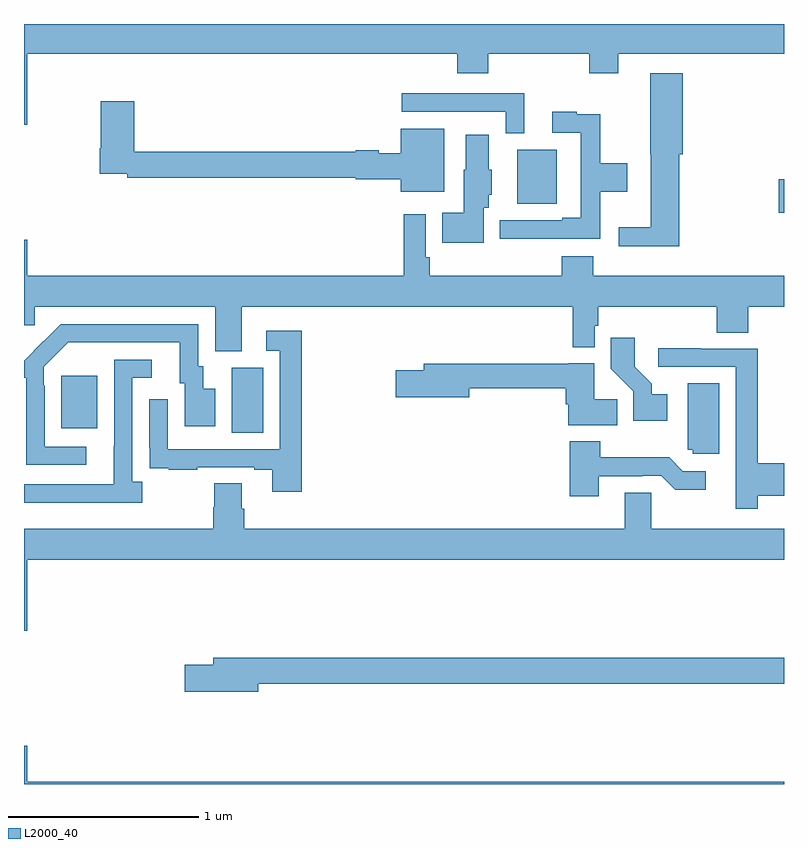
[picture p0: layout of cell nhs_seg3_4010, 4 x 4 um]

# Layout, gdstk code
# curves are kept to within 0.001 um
import gdstk
lib = gdstk.Library(unit=1e-6, precision=1e-09)
def R(c, l, rs):  # rectangles x0, y0, x1, y1
    for r in rs: c.add(gdstk.rectangle(r[:2], r[2:], *l))
def P(c, l, *ps):  # polygons
    for p in ps: c.add(gdstk.Polygon(p, *l))
L2000_40 = (2000, 40)

nhs_seg3_4010 = lib.new_cell('nhs_seg3_4010')
R(nhs_seg3_4010, L2000_40, [(322.094,704.248,322.258,704.592), (321.197,704.273,321.385,704.548), (324.972,705.406,325,705.584), (323.597,705.455,323.803,705.739)])
P(nhs_seg3_4010, L2000_40, [(321.016,706.244),(323.279,706.244),(323.279,706.142),(323.444,706.142),(323.444,706.244),(323.975,706.244),(323.975,706.142),(324.127,706.142),(324.127,706.244),(325,706.244),(325,706.4),(321,706.4),(321,705.87),(321.016,705.87)],
  [(324.449,705.714),(324.467,705.714),(324.467,706.141),(324.296,706.141),(324.296,705.714),(324.299,705.714),(324.299,705.329),(324.129,705.329),(324.129,705.23),(324.449,705.23)],
  [(323.632,706.035),(322.989,706.035),(322.989,705.939),(323.535,705.939),(323.535,705.824),(323.632,705.824)],
  [(323.212,705.85),(322.982,705.85),(322.982,705.721),(322.866,705.721),(322.866,705.736),(322.746,705.736),(322.746,705.728),(321.581,705.728),(321.581,705.994),(321.403,705.994),(321.403,705.745),(321.398,705.745),(321.398,705.612),(321.544,705.612),(321.544,705.592),(322.746,705.592),(322.746,705.584),(322.982,705.584),(322.982,705.518),(323.212,705.518)],
  [(323.747,705.27),(324.032,705.27),(324.032,705.518),(324.175,705.518),(324.175,705.666),(324.032,705.666),(324.032,705.926),(323.909,705.926),(323.909,705.937),(323.781,705.937),(323.781,705.828),(323.931,705.828),(323.931,705.379),(323.834,705.379),(323.834,705.366),(323.505,705.366),(323.505,705.269),(323.747,705.269)],
  [(323.419,705.432),(323.446,705.432),(323.446,705.501),(323.461,705.501),(323.461,705.633),(323.446,705.633),(323.446,705.817),(323.324,705.817),(323.324,705.633),(323.315,705.633),(323.315,705.406),(323.2,705.406),(323.2,705.248),(323.419,705.248)],
  [(322.147,704.912),(323.887,704.912),(323.887,704.699),(324.003,704.699),(324.003,704.811),(324.023,704.811),(324.023,704.912),(324.647,704.912),(324.647,704.776),(324.812,704.776),(324.812,704.912),(325,704.912),(325,705.076),(323.996,705.076),(323.996,705.178),(323.831,705.178),(323.831,705.076),(323.135,705.076),(323.135,705.172),(323.115,705.172),(323.115,705.4),(322.999,705.4),(322.999,705.076),(321.016,705.076),(321.016,705.265),(321,705.265),(321,704.814),(321.057,704.814),(321.057,704.912),(322.007,704.912),(322.007,704.677),(322.147,704.677)],
  [(321.328,704.175),(321.108,704.175),(321.108,704.495),(321.105,704.495),(321.105,704.595),(321.234,704.724),(321.821,704.724),(321.821,704.508),(321.845,704.508),(321.845,704.283),(322.006,704.283),(322.006,704.479),(321.943,704.479),(321.943,704.598),(321.918,704.598),(321.918,704.82),(321.194,704.82),(321,704.628),(321,704.537),(321.012,704.537),(321.012,704.079),(321.328,704.079)],
  [(322.463,704.785),(322.275,704.785),(322.275,704.679),(322.347,704.679),(322.347,704.163),(321.756,704.163),(321.756,704.425),(321.66,704.425),(321.66,704.17),(321.661,704.17),(321.661,704.061),(321.763,704.061),(321.763,704.055),(321.911,704.055),(321.911,704.067),(322.211,704.067),(322.211,704.055),(322.307,704.055),(322.307,703.938),(322.463,703.938)],
  [(324.385,704.452),(324.304,704.452),(324.304,704.507),(324.214,704.597),(324.214,704.749),(324.088,704.749),(324.088,704.586),(324.207,704.467),(324.207,704.312),(324.385,704.312)],
  [(324.863,703.916),(325,703.916),(325,704.087),(324.863,704.087),(324.863,704.691),(324.563,704.691),(324.563,704.694),(324.339,704.694),(324.339,704.595),(324.747,704.595),(324.747,704.07),(324.746,704.07),(324.746,703.848),(324.863,703.848)],
  [(321.622,703.99),(321.57,703.99),(321.57,704.538),(321.673,704.538),(321.673,704.634),(321.474,704.634),(321.474,704.177),(321.473,704.177),(321.473,703.977),(321,703.977),(321,703.88),(321.622,703.88)],
  [(324.122,704.426),(324.001,704.426),(324.001,704.614),(323.868,704.614),(323.868,704.611),(323.105,704.611),(323.105,704.577),(322.956,704.577),(322.956,704.435),(323.344,704.435),(323.344,704.482),(323.852,704.482),(323.852,704.399),(323.864,704.399),(323.864,704.288),(324.122,704.288)],
  [(324.658,704.509),(324.494,704.509),(324.494,704.16),(324.519,704.16),(324.519,704.139),(324.658,704.139)],
  [(324.025,704.019),(324.254,704.019),(324.254,704.022),(324.354,704.022),(324.427,703.949),(324.589,703.949),(324.589,704.046),(324.468,704.046),(324.395,704.119),(324.033,704.119),(324.033,704.203),(323.873,704.203),(323.873,703.914),(324.025,703.914)],
  [(321.016,703.58),(325,703.58),(325,703.744),(324.3,703.744),(324.3,703.934),(324.161,703.934),(324.161,703.744),(322.16,703.744),(322.16,703.85),(322.147,703.85),(322.147,703.982),(322,703.982),(322,703.857),(321.995,703.857),(321.995,703.744),(321,703.744),(321,703.206),(321.016,703.206)],
  [(322.234,702.928),(325,702.928),(325,703.064),(321.995,703.064),(321.995,703.028),(321.846,703.028),(321.846,702.886),(322.234,702.886)],
  [(325,702.412),(321.016,702.412),(321.016,702.601),(321,702.601),(321,702.4),(325,702.4)])

lib.write_gds('nhs_seg3_4010.gds')
